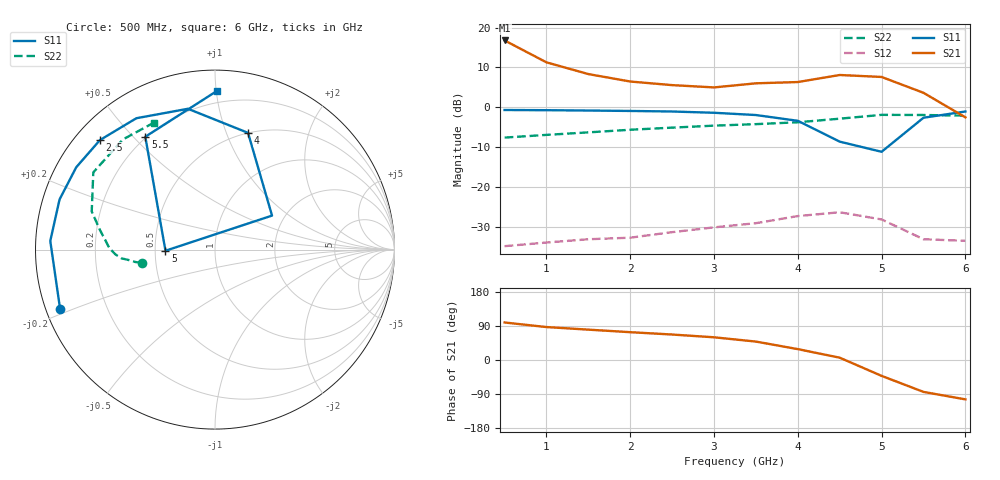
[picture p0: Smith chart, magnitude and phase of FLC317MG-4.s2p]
!FLC317MG-4 Fujitsu device.
!S-PARAMETERS
!V DS = 10V, I DS = 720mA
!FREQUENCY S11 S21 S12 S22
!(MHZ) MAG ANG MAG ANG MAG ANG MAG ANG
# MHz S MA R 50
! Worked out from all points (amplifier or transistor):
!   12 points, 500 MHz to 6 GHz, reference 50 ohm
!   highest |S21| = 16.8 dB at 500 MHz (marker M1)
!   |S21| within 3 dB of that: start of sweep to 772.5 MHz
!   unconditionally stable (mu >= 1): 935.7 MHz to end of sweep
!   at 1.5 GHz: K = 1.50, MAG = 16.6 dB, |S12| = -33.2 dB
!   at 3.5 GHz: K = 2.11, MAG = 11.6 dB, |S12| = -29.1 dB
!   at 6 GHz: K = 2.92, MAG = 8.0 dB, |S12| = -33.6 dB
!   S11 on the Smith chart (normalised r, x): 500 MHz: 0.04, -0.18; 2.5 GHz: 0.07, +0.40; 4 GHz: 0.50, +1.19; 5 GHz: 0.57, -0.01; 5.5 GHz: 0.20, +0.54; 6 GHz: 0.12, +1.01
500  0.924 -159.1  6.908 99.0  0.018 29.7  0.416 -169.6
1000  0.919 177.0  3.665 86.9  0.02 34.4  0.45 -171.2
1500  0.91 162.1  2.612 80.1  0.022 46.1  0.484 -173.1
2000  0.899 149.3  2.106 73.4  0.023 54.3  0.522 -174.6
2500  0.885 136.4  1.898 67.2  0.027 63.1  0.555 -177.2
3000  0.853 120.9  1.776 59.9  0.031 57.3  0.588 179.3
3500  0.799 100.9  2 48.6  0.035 65.0  0.614 175.0
4000  0.676 74.2  2.075 28.7  0.043 49.0  0.648 170.6
4500  0.37 30.8  2.544 6.1  0.048 20.2  0.719 162.8
5000  0.276 -178.7  2.403 -41.9  0.039 -34.5  0.803 147.6
5500  0.739 121.7  1.52 -84.2  0.022 -107.4  0.8 129.9
6000  0.885 89.2  0.747 -103.9  0.021 -163.4  0.785 115.7
